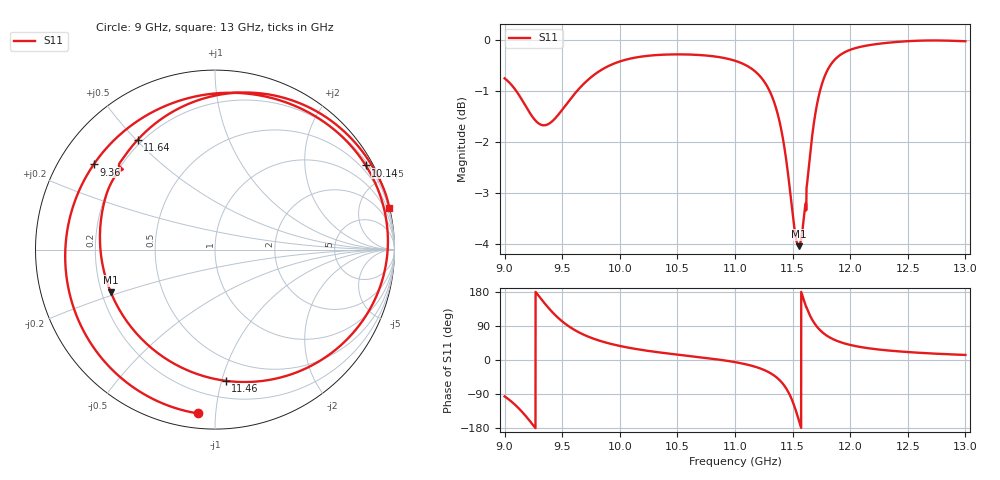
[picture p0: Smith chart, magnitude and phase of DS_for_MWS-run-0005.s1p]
! TOUCHSTONE file generated by CST DESIGN STUDIO
! Date and time: Tue Feb  4 12:52:46 2025
! Project name: C:\Work\MatlabApps\UnitCellOptimizationMatlab\CST\unitcell.cst
! Tree item: Tasks\Sweep1\SPara1\S-Parameters
! Header version: 2024
! Port assignment regex: !\s*Touchstone port\s*([0-9]+)\s*=\s*(CST MWS port|CST DES external port|CST DES block port)\s*(.+)\s* \(\"(.*)\"\)(\s*mode\s*([0-9]+))?.*
! Touchstone port assignment:
! Touchstone port 1 = CST DES external port 1 ("")
# GHz S MA R 50
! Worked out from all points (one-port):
!   4001 points, 9 GHz to 13 GHz, reference 50 ohm
!   lowest |S11| = -4.0 dB at 11.55 GHz (marker M1), VSWR 4.37, Z = 11.9 - j9.29 ohm
!   |S11| at or under -10 dB: nowhere
!   S11 on the Smith chart (normalised r, x): 9 GHz: 0.08, -0.90; 9.36 GHz: 0.10, +0.31; 10.14 GHz: 0.30, +3.82; 11.46 GHz: 0.33, -1.03; 11.64 GHz: 0.18, +0.51; 13 GHz: 0.07, +8.53
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9  0.9177 -96.0
9.111  0.8884 -124.0
9.217  0.8493 -160.2
9.286  0.8302 173.1
9.36  0.8257 144.9
9.428  0.8357 122.0
9.5  0.8547 101.9
9.609  0.8864 78.9
9.721  0.914 62.2
10  0.9535 37.1
10.138  0.9621 29.2
10.5  0.9689 14.2
11  0.955 -5.6
11.183  0.9305 -18.5
11.304  0.89 -34.1
11.391  0.8279 -54.3
11.464  0.7335 -85.3
11.5  0.676 -109.3
11.553  0.6275 -157.8
11.592  0.66 163.2
11.639  0.7485 125.1
11.668  0.8024 107.4
11.701  0.8519 91.9
11.793  0.9301 65.0
11.882  0.9613 50.8
12  0.979 39.8
12.5  0.9983 21.0
13  0.9982 13.4
